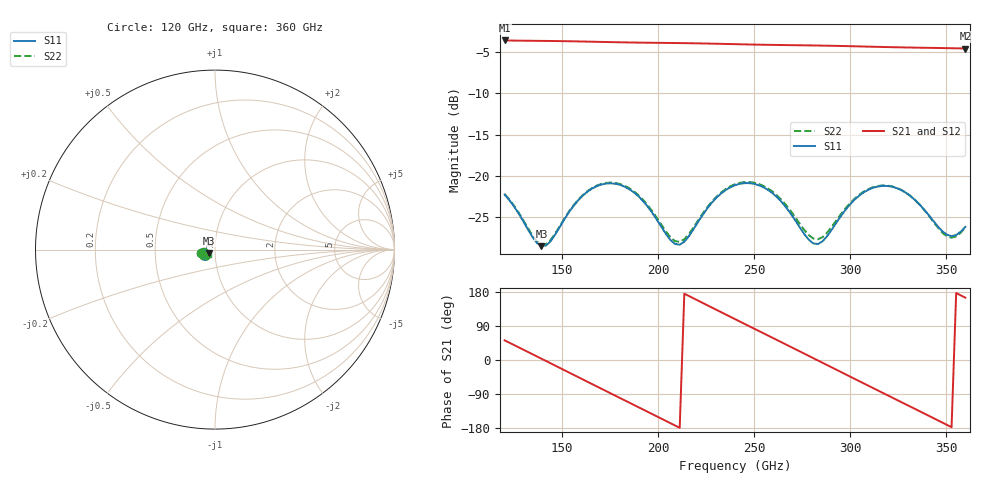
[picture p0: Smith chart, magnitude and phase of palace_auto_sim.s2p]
#  GHZ S DB R 50
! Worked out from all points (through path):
!   101 points, 120 GHz to 360 GHz, reference 50 ohm
!   highest |S21| = -3.61 dB at 120 GHz (marker M1); lowest = -4.6 dB at 360 GHz (marker M2)
!   group delay of S21, straight-line fit = 7.03 ps
!   lowest |S11| = -28.5 dB at 139.2 GHz (marker M3), VSWR 1.08, Z = 46.8 - j1.73 ohm
!   |S11| at or under -10 dB: start of sweep to end of sweep
!   |S22| runs from -28.3 to -20.7 dB; largest |S21 - S12| = 7.2e-14
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120  -22.24 -165.0  -3.61 51.9  -3.61 51.9  -22.16 -164.9
139.2  -28.47 -150.7  -3.66 3.4  -3.66 3.4  -28.27 -150.8
148.8  -26.12 -126.5  -3.69 -21.0  -3.69 -21.0  -26.02 -126.9
160.8  -22.34 -131.4  -3.74 -51.5  -3.74 -51.5  -22.27 -131.4
170.4  -21.02 -145.2  -3.78 -75.8  -3.78 -75.8  -20.94 -144.8
180  -21.05 -160.4  -3.83 -100.0  -3.83 -100.0  -20.95 -159.7
189.6  -22.42 -173.6  -3.87 -124.3  -3.87 -124.3  -22.28 -172.6
201.6  -26.12 -177.3  -3.90 -154.6  -3.90 -154.6  -25.86 -176.1
211.2  -28.29 -153.8  -3.92 -178.9  -3.92 -178.9  -27.95 -153.6
218.4  -26.42 -136.4  -3.95 162.8  -3.95 162.8  -26.20 -136.7
240  -21.10 -150.3  -4.05 108.0  -4.05 108.0  -20.99 -149.6
249.6  -20.92 -164.7  -4.10 83.7  -4.10 83.7  -20.78 -163.6
259.2  -22.01 -177.8  -4.14 59.5  -4.14 59.5  -21.82 -176.3
271.2  -25.28 175.4  -4.18 29.2  -4.18 29.2  -24.92 177.2
280.8  -28.14 -167.5  -4.21 4.8  -4.21 4.8  -27.55 -167.1
290.4  -26.47 -142.8  -4.25 -19.5  -4.25 -19.5  -26.12 -144.3
302.4  -22.83 -143.4  -4.31 -50.0  -4.31 -50.0  -22.70 -144.3
321.6  -21.28 -167.8  -4.42 -98.5  -4.42 -98.5  -21.23 -167.8
331.2  -22.38 -179.2  -4.46 -122.7  -4.46 -122.7  -22.37 -179.0
343.2  -25.38 177.6  -4.51 -153.0  -4.51 -153.0  -25.49 178.2
352.8  -27.25 -165.0  -4.55 -177.3  -4.55 -177.3  -27.45 -162.9
360  -26.13 -149.7  -4.58 164.4  -4.58 164.4  -26.20 -146.6
